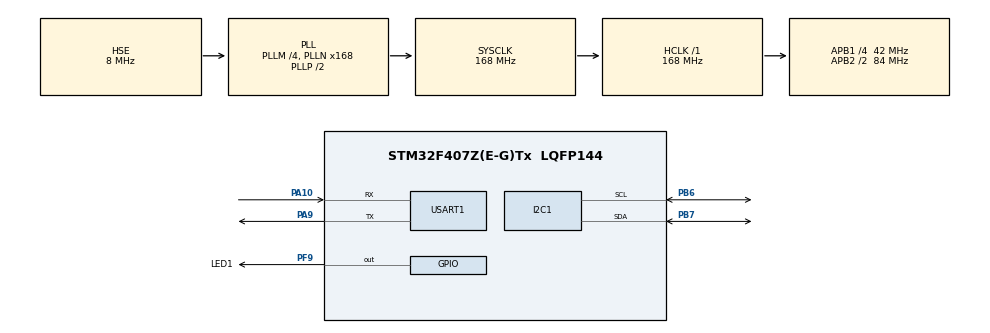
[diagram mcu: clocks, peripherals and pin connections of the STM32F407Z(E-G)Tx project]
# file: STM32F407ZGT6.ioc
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Mcu.Family=STM32F4
Mcu.Name=STM32F407Z(E-G)Tx
Mcu.Package=LQFP144
NVIC.I2C1_ER_IRQn=true\:0\:0\:false\:false\:true\:true\:true
NVIC.I2C1_EV_IRQn=true\:0\:0\:false\:false\:true\:true\:true
NVIC.PriorityGroup=NVIC_PRIORITYGROUP_4
PA10.Mode=Asynchronous
PA10.Signal=USART1_RX
PA13.Mode=Serial_Wire
PA13.Signal=SYS_JTMS-SWDIO
PA14.Mode=Serial_Wire
PA14.Signal=SYS_JTCK-SWCLK
PA9.Mode=Asynchronous
PA9.Signal=USART1_TX
PB6.GPIO_Pu=GPIO_PULLUP
PB6.Mode=I2C
PB6.Signal=I2C1_SCL
PB7.GPIO_Pu=GPIO_PULLUP
PB7.Mode=I2C
PB7.Signal=I2C1_SDA
PC14-OSC32_IN.Mode=LSE-External-Oscillator
PC14-OSC32_IN.Signal=RCC_OSC32_IN
PC15-OSC32_OUT.Mode=LSE-External-Oscillator
PC15-OSC32_OUT.Signal=RCC_OSC32_OUT
PF9.GPIO_Label=LED1
PF9.Signal=GPIO_Output
PH0-OSC_IN.Mode=HSE-External-Oscillator
PH0-OSC_IN.Signal=RCC_OSC_IN
PH1-OSC_OUT.Mode=HSE-External-Oscillator
PH1-OSC_OUT.Signal=RCC_OSC_OUT
ProjectManager.HeapSize=0x200
ProjectManager.StackSize=0x1000
ProjectManager.TargetToolchain=MDK-ARM V5.32
RCC.48MHZClocksFreq_Value=112000000
RCC.AHBFreq_Value=168000000
RCC.APB1CLKDivider=RCC_HCLK_DIV4
RCC.APB1Freq_Value=42000000
RCC.APB1TimFreq_Value=84000000
RCC.APB2CLKDivider=RCC_HCLK_DIV2
RCC.APB2Freq_Value=84000000
RCC.APB2TimFreq_Value=168000000
RCC.CortexFreq_Value=168000000
RCC.HCLKFreq_Value=168000000
RCC.HSE_VALUE=8000000
RCC.HSI_VALUE=16000000
RCC.PLLM=4
RCC.PLLN=168
RCC.PLLQ=3
RCC.PLLSourceVirtual=RCC_PLLSOURCE_HSE
RCC.RCC_RTC_Clock_Source=RCC_RTCCLKSOURCE_LSE
RCC.RCC_RTC_Clock_SourceVirtual=RCC_RTCCLKSOURCE_LSE
RCC.SYSCLKFreq_VALUE=168000000
RCC.SYSCLKSource=RCC_SYSCLKSOURCE_PLLCLK
RCC.VCOOutputFreq_Value=336000000
USART1.VirtualMode=VM_ASYNC
board=custom

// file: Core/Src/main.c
/* USER CODE BEGIN Header */
/**
 ******************************************************************************
 * @file           : main.c
 * @brief          : Main program body
 ******************************************************************************
 * @attention
 *
 * Copyright (c) 2021 STMicroelectronics.
 * All rights reserved.
 *
 * This software is licensed under terms that can be found in the LICENSE file
 * in the root directory of this software component.
 * If no LICENSE file comes with this software, it is provided AS-IS.
 *
 ******************************************************************************
 */
/* USER CODE END Header */
#include "main.h"
#include "i2c.h"
#include "usart.h"
#include "gpio.h"

/* USER CODE BEGIN Includes */
#include <stdio.h>

/* USER CODE END Includes */

/* USER CODE BEGIN PV */
uint8_t TBuffer[10];
uint8_t RBuffer[10];

/* USER CODE END PV */

void SystemClock_Config(void);

int main(void)
{

  /* MCU Configuration--------------------------------------------------------*/

  /* Reset of all peripherals, Initializes the Flash interface and the Systick. */
  HAL_Init();

  /* Configure the system clock */
  SystemClock_Config();

  /* Initialize all configured peripherals */
  MX_GPIO_Init();
  MX_USART1_UART_Init();
  MX_I2C1_Init();
  /* USER CODE BEGIN 2 */
	char a[1] = {0};
	scanf("%c", a);
  printf("Hello World!\r\n");
  for (uint8_t i = 0; i < 10; i++)
  {
    TBuffer[i] = 'a' + i;
		printf("%c ", TBuffer[i]);
  }

  HAL_I2C_Master_Transmit(&hi2c1, 0xc0, TBuffer, 5, 10);
//	printf("Tansmited.\r\n");
  // 中断等待接收数据
  //HAL_I2C_Master_Receive_IT(&hi2c1, 0x60, RBuffer, 5);

  /* USER CODE END 2 */

  /* Infinite loop */
  while (1)
  {

  }
}

void SystemClock_Config(void)
{
  RCC_OscInitTypeDef RCC_OscInitStruct = {0};
  RCC_ClkInitTypeDef RCC_ClkInitStruct = {0};

  /** Configure the main internal regulator output voltage
  */
  __HAL_RCC_PWR_CLK_ENABLE();
  __HAL_PWR_VOLTAGESCALING_CONFIG(PWR_REGULATOR_VOLTAGE_SCALE1);
  /** Initializes the RCC Oscillators according to the specified parameters
  * in the RCC_OscInitTypeDef structure.
  */
  RCC_OscInitStruct.OscillatorType = RCC_OSCILLATORTYPE_HSE;
  RCC_OscInitStruct.HSEState = RCC_HSE_ON;
  RCC_OscInitStruct.PLL.PLLState = RCC_PLL_ON;
  RCC_OscInitStruct.PLL.PLLSource = RCC_PLLSOURCE_HSE;
  RCC_OscInitStruct.PLL.PLLM = 4;
  RCC_OscInitStruct.PLL.PLLN = 168;
  RCC_OscInitStruct.PLL.PLLP = RCC_PLLP_DIV2;
  RCC_OscInitStruct.PLL.PLLQ = 3;
  if (HAL_RCC_OscConfig(&RCC_OscInitStruct) != HAL_OK)
  {
    Error_Handler();
  }
  /** Initializes the CPU, AHB and APB buses clocks
  */
  RCC_ClkInitStruct.ClockType = RCC_CLOCKTYPE_HCLK|RCC_CLOCKTYPE_SYSCLK
                              |RCC_CLOCKTYPE_PCLK1|RCC_CLOCKTYPE_PCLK2;
  RCC_ClkInitStruct.SYSCLKSource = RCC_SYSCLKSOURCE_PLLCLK;
  RCC_ClkInitStruct.AHBCLKDivider = RCC_SYSCLK_DIV1;
  RCC_ClkInitStruct.APB1CLKDivider = RCC_HCLK_DIV4;
  RCC_ClkInitStruct.APB2CLKDivider = RCC_HCLK_DIV2;

  if (HAL_RCC_ClockConfig(&RCC_ClkInitStruct, FLASH_LATENCY_5) != HAL_OK)
  {
    Error_Handler();
  }
}

/* USER CODE BEGIN 4 */
int fputc(int ch, FILE *f)
{
  HAL_UART_Transmit(&huart1, (uint8_t *)&ch, 1, 0xffff);
  return ch;
}

int fgetc(FILE *f)
{
  uint8_t ch = 0;
  HAL_UART_Receive(&huart1, &ch, 1, 0xffff);
  return ch;
}

void HAL_I2C_MasterRxCpltCallback(I2C_HandleTypeDef *hi2c)
{
  printf("Receive String: %s.\r\n", RBuffer);
	HAL_I2C_Master_Receive_IT(&hi2c1, 0x60, RBuffer, 5);
}

void HAL_I2C_ErrorCallback(I2C_HandleTypeDef *I2cHandle)
{
// 打印I2C错误类型
//	error type 1:  HAL_I2C_ERROR_BEER    Bus error	 		总线错误
//	error type 4:  HAL_I2C_ERROR_AF  	 Acknowledge failure 应答错误
	printf("error type  %x \n",HAL_I2C_GetError(I2cHandle));
// 先注�?I2C硬件,释放I2C接口,再重启I2C
	HAL_I2C_DeInit(I2cHandle);
	MX_I2C1_Init();
	//HAL_I2C_Master_Receive_IT(&hi2c1, 0x60, RBuffer, 5);
}

/* USER CODE END 4 */

void Error_Handler(void)
{
  __disable_irq();
  while (1)
  {
  }
}
